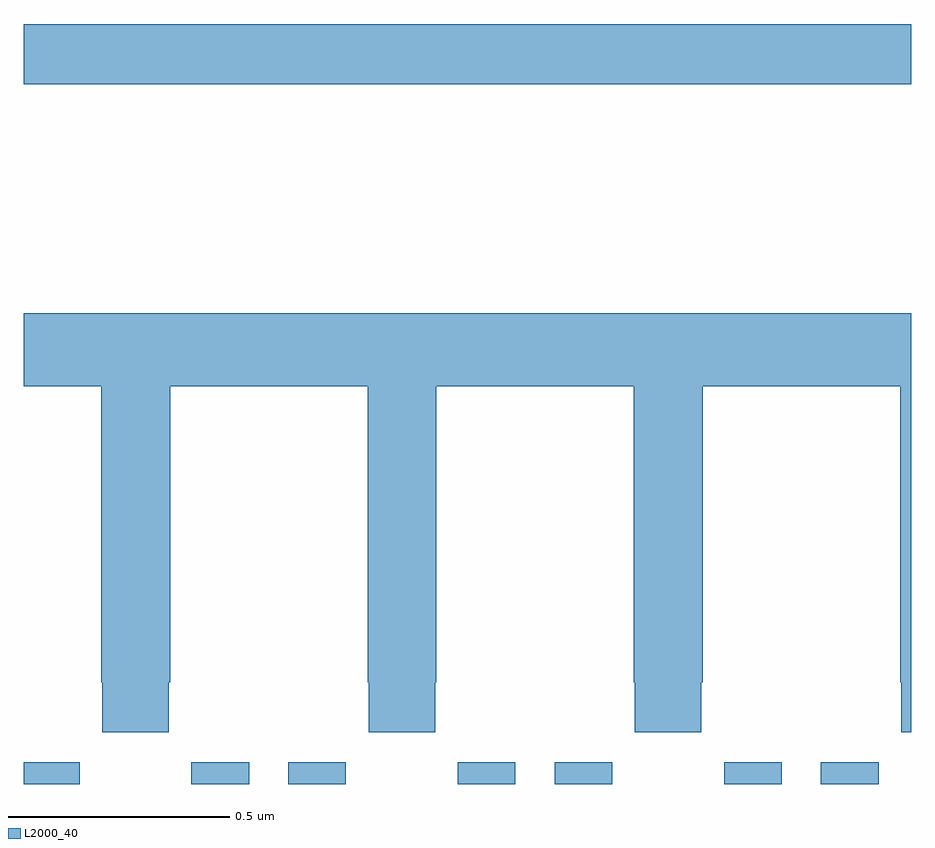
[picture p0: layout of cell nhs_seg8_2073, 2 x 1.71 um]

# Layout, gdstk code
import gdstk
lib = gdstk.Library(unit=1e-6, precision=1e-09)
def R(c, l, rs):  # rectangles x0, y0, x1, y1
    for r in rs: c.add(gdstk.rectangle(r[:2], r[2:], *l))
def P(c, l, *ps):  # polygons
    for p in ps: c.add(gdstk.Polygon(p, *l))
L2000_40 = (2000, 40)

nhs_seg8_2073 = lib.new_cell('nhs_seg8_2073')
R(nhs_seg8_2073, L2000_40, [(138,1152.9,138.126,1152.949), (138.378,1152.9,138.508,1152.949), (138.596,1152.9,138.726,1152.949), (138.978,1152.9,139.108,1152.949), (139.196,1152.9,139.326,1152.949), (139.578,1152.9,139.708,1152.949), (139.796,1152.9,139.926,1152.949), (138,1154.476,140,1154.612)])
P(nhs_seg8_2073, L2000_40, [(138.327,1153.129),(138.33,1153.129),(138.33,1153.796),(138.775,1153.796),(138.775,1153.129),(138.777,1153.129),(138.777,1153.017),(138.927,1153.017),(138.927,1153.129),(138.93,1153.129),(138.93,1153.796),(139.375,1153.796),(139.375,1153.129),(139.377,1153.129),(139.377,1153.017),(139.527,1153.017),(139.527,1153.129),(139.53,1153.129),(139.53,1153.796),(139.975,1153.796),(139.975,1153.129),(139.977,1153.129),(139.977,1153.017),(140,1153.017),(140,1153.96),(138,1153.96),(138,1153.796),(138.175,1153.796),(138.175,1153.129),(138.177,1153.129),(138.177,1153.017),(138.327,1153.017)])

lib.write_gds('nhs_seg8_2073.gds')
